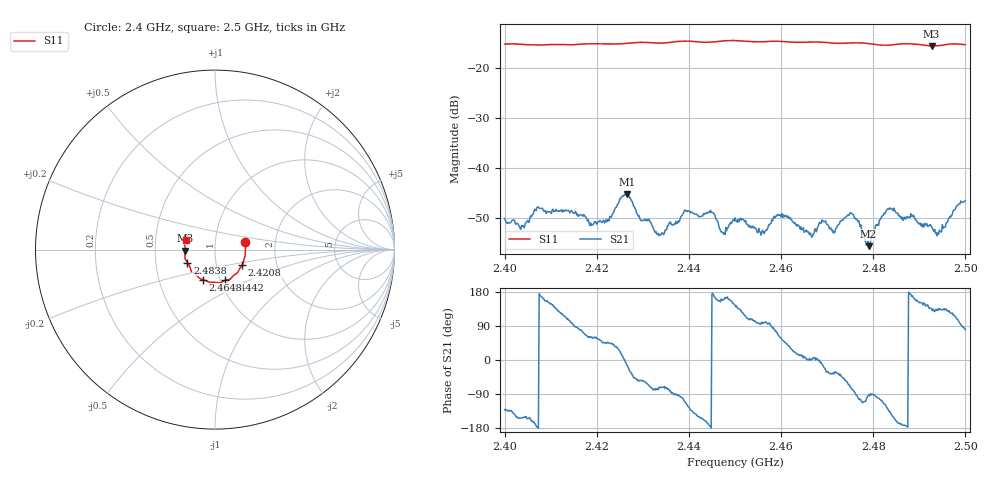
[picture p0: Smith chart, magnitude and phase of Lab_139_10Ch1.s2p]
# Hz S RI R 50
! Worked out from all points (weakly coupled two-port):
!   601 points, 2.4 GHz to 2.5 GHz, reference 50 ohm
!   highest |S21| = -45.24 dB at 2.4267 GHz (marker M1); lowest = -55.6 dB at 2.479 GHz (marker M2)
!   lowest |S11| = -15.6 dB at 2.4927 GHz (marker M3), VSWR 1.40, Z = 35.8 - j0.499 ohm
!   |S11| at or under -10 dB: start of sweep to end of sweep
!   S12 and S22 are empty: the file has one direction only
!   S11 on the Smith chart (normalised r, x): 2.4 GHz: 1.40, +0.12; 2.4208 GHz: 1.33, -0.24; 2.4442 GHz: 1.05, -0.37; 2.4648 GHz: 0.83, -0.29; 2.4838 GHz: 0.73, -0.11; 2.5 GHz: 0.72, +0.08
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2.4e9  0.1677 0.0411  -0.00207 -0.00235  0 0  0 0
2.403833e9  0.1709 0.0184  -0.00233 -0.00121  0 0  0 0
2.4075e9  0.1687 -0.0134  -0.00396 0.000353  0 0  0 0
2.416667e9  0.1589 -0.0681  0.000652 0.00333  0 0  0 0
2.420833e9  0.1507 -0.0871  0.00181 0.0023  0 0  0 0
2.426667e9  0.1314 -0.1175  0.00525 -0.00154  0 0  0 0
2.433333e9  0.1078 -0.1402  0.000459 -0.00218  0 0  0 0
2.439333e9  0.0842 -0.165  -0.00146 -0.00342  0 0  0 0
2.444167e9  0.0566 -0.1713  -0.00354 -0.000767  0 0  0 0
2.447333e9  0.0357 -0.1822  -0.00212 0.00085  0 0  0 0
2.45e9  0.0248 -0.186  -0.00259 0.00185  0 0  0 0
2.456e9  -0.014 -0.182  -0.000269 0.00237  0 0  0 0
2.459667e9  -0.0338 -0.181  0.00162 0.00298  0 0  0 0
2.464833e9  -0.0684 -0.1668  0.00252 0.000234  0 0  0 0
2.466667e9  -0.0799 -0.1627  0.00203 3.77e-05  0 0  0 0
2.475167e9  -0.1234 -0.1278  0.00107 -0.0034  0 0  0 0
2.479e9  -0.1359 -0.1098  -7.53e-05 -0.00166  0 0  0 0
2.483333e9  -0.1505 -0.0761  -0.00259 -0.00297  0 0  0 0
2.483833e9  -0.1532 -0.0722  -0.00306 -0.00246  0 0  0 0
2.492667e9  -0.1658 -0.00678  -0.00178 0.00186  0 0  0 0
2.494333e9  -0.1668 0.0112  -0.0016 0.00178  0 0  0 0
2.5e9  -0.1622 0.053  0.000815 0.00465  0 0  0 0
